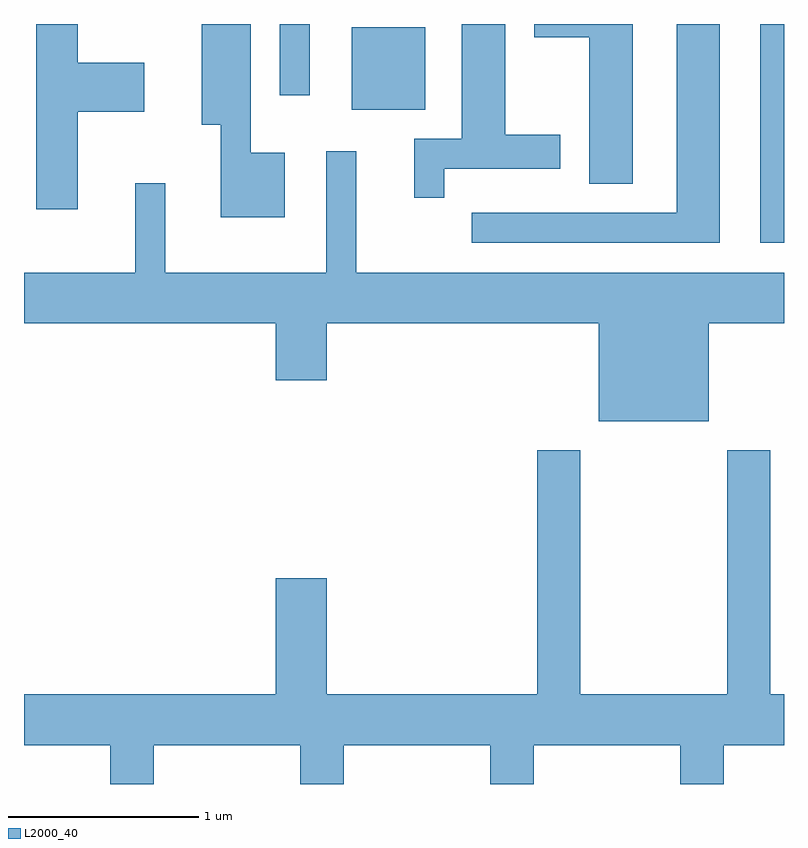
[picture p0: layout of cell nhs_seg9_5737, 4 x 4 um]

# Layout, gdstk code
import gdstk
lib = gdstk.Library(unit=1e-6, precision=1e-09)
def R(c, l, rs):  # rectangles x0, y0, x1, y1
    for r in rs: c.add(gdstk.rectangle(r[:2], r[2:], *l))
def P(c, l, *ps):  # polygons
    for p in ps: c.add(gdstk.Polygon(p, *l))
L2000_40 = (2000, 40)

nhs_seg9_5737 = lib.new_cell('nhs_seg9_5737')
R(nhs_seg9_5737, L2000_40, [(357.486,2063.281,357.611,2064.432), (355.336,2063.981,355.724,2064.414), (354.956,2064.058,355.114,2064.432)])
P(nhs_seg9_5737, L2000_40, [(356.814,2064.432),(356.296,2064.432),(356.296,2064.361),(356.586,2064.361),(356.586,2063.591),(356.814,2063.591)],
  [(353.894,2063.971),(354.244,2063.971),(354.244,2064.229),(353.894,2064.229),(353.894,2064.432),(353.676,2064.432),(353.676,2063.456),(353.894,2063.456)],
  [(354.984,2063.754),(354.804,2063.754),(354.804,2064.432),(354.546,2064.432),(354.546,2063.901),(354.646,2063.901),(354.646,2063.416),(354.984,2063.416)],
  [(355.824,2063.671),(356.434,2063.671),(356.434,2063.849),(356.144,2063.849),(356.144,2064.432),(355.916,2064.432),(355.916,2063.829),(355.666,2063.829),(355.666,2063.518),(355.824,2063.518)],
  [(357.274,2064.432),(357.046,2064.432),(357.046,2063.439),(355.968,2063.439),(355.968,2063.281),(357.274,2063.281)],
  [(357.214,2062.856),(357.611,2062.856),(357.611,2063.124),(355.359,2063.124),(355.359,2063.762),(355.201,2063.762),(355.201,2063.124),(354.354,2063.124),(354.354,2063.593),(354.196,2063.593),(354.196,2063.124),(353.611,2063.124),(353.611,2062.856),(354.936,2062.856),(354.936,2062.556),(355.204,2062.556),(355.204,2062.856),(356.636,2062.856),(356.636,2062.341),(357.214,2062.341)],
  [(354.294,2060.636),(355.066,2060.636),(355.066,2060.432),(355.294,2060.432),(355.294,2060.636),(356.066,2060.636),(356.066,2060.432),(356.294,2060.432),(356.294,2060.636),(357.066,2060.636),(357.066,2060.432),(357.294,2060.432),(357.294,2060.636),(357.611,2060.636),(357.611,2060.904),(357.539,2060.904),(357.539,2062.189),(357.311,2062.189),(357.311,2060.904),(356.539,2060.904),(356.539,2062.189),(356.311,2062.189),(356.311,2060.904),(355.204,2060.904),(355.204,2061.514),(354.936,2061.514),(354.936,2060.904),(353.611,2060.904),(353.611,2060.636),(354.066,2060.636),(354.066,2060.432),(354.294,2060.432)])

lib.write_gds('nhs_seg9_5737.gds')
